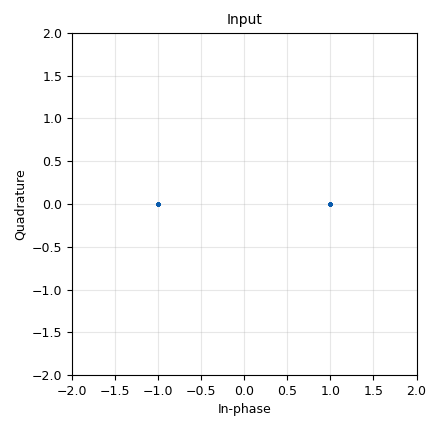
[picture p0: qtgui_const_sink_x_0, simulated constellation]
options:
  parameters:
    author: mzemlo.pl@gmail.com
    generate_options: qt_gui
    id: bpsk_01
    output_language: python
    title: BPSK 01
  states: {}

blocks:
- name: datarate
  id: variable
  parameters:
    value: '16000'
  states: {}
- name: fc
  id: variable
  parameters:
    value: 3.5e9
  states: {}
- name: samp_rate
  id: variable_qtgui_range
  parameters:
    start: '65105'
    step: '1000'
    stop: '61440000'
    value: '11445105'
  states: {}
- name: analog_const_source_x_0
  id: analog_const_source_x
  parameters:
    const: '0'
    type: float
  states: {}
- name: analog_random_uniform_source_x_0
  id: analog_random_uniform_source_x
  parameters:
    maximum: '2'
    minimum: '0'
    seed: '0'
    type: byte
  states: {}
- name: blocks_add_const_vxx_0
  id: blocks_add_const_vxx
  parameters:
    const: '-1'
    type: float
  states: {}
- name: blocks_complex_to_float_0
  id: blocks_complex_to_float
  parameters: {}
  states: {}
- name: blocks_float_to_complex_0
  id: blocks_float_to_complex
  parameters: {}
  states: {}
- name: blocks_multiply_const_vxx_0
  id: blocks_multiply_const_vxx
  parameters:
    const: '2'
    type: float
  states: {}
- name: blocks_threshold_ff_0
  id: blocks_threshold_ff
  parameters:
    high: '0.5'
    init: '0'
    low: '0.5'
  states: {}
- name: blocks_throttle2_0
  id: blocks_throttle2
  parameters:
    samples_per_second: samp_rate
    type: byte
  states: {}
- name: blocks_uchar_to_float_0
  id: blocks_uchar_to_float
  parameters: {}
  states: {}
- name: iio_pluto_sink_0
  id: iio_pluto_sink
  parameters:
    attenuation1: '10.0'
    bandwidth: '20000000'
    buffer_size: '32768'
    cyclic: 'False'
    filter_source: '''Auto'''
    frequency: int ( fc)
    samplerate: int ( samp_rate )
    type: fc32
    uri: usb:2.1.5
  states: {}
- name: iio_pluto_source_0
  id: iio_pluto_source
  parameters:
    bandwidth: '20000000'
    bbdc: 'True'
    buffer_size: '32768'
    filter_source: '''Auto'''
    frequency: int ( fc )
    gain1: '''slow_attack'''
    quadrature: 'True'
    rfdc: 'True'
    samplerate: int ( samp_rate )
    type: fc32
    uri: usb:2.1.5
  states: {}
- name: qtgui_const_sink_x_0
  id: qtgui_const_sink_x
  parameters:
    name: Input
    size: '1024'
    type: complex
  states: {}
- name: qtgui_const_sink_x_0_0
  id: qtgui_const_sink_x
  parameters:
    name: Output
    size: '1024'
    type: complex
  states: {}
- name: qtgui_number_sink_0
  id: qtgui_number_sink
  parameters:
    graph_type: qtgui.NUM_GRAPH_HORIZ
    min: '0'
    name: '"input bits"'
    type: float
  states: {}
- name: qtgui_number_sink_1
  id: qtgui_number_sink
  parameters:
    graph_type: qtgui.NUM_GRAPH_HORIZ
    min: '0'
    name: '"output bits"'
    type: float
  states: {}

connections:
- [analog_const_source_x_0, '0', blocks_float_to_complex_0, '1']
- [analog_random_uniform_source_x_0, '0', blocks_throttle2_0, '0']
- [blocks_add_const_vxx_0, '0', blocks_float_to_complex_0, '0']
- [blocks_complex_to_float_0, '0', blocks_threshold_ff_0, '0']
- [blocks_float_to_complex_0, '0', iio_pluto_sink_0, '0']
- [blocks_float_to_complex_0, '0', qtgui_const_sink_x_0, '0']
- [blocks_multiply_const_vxx_0, '0', blocks_add_const_vxx_0, '0']
- [blocks_threshold_ff_0, '0', qtgui_number_sink_1, '0']
- [blocks_throttle2_0, '0', blocks_uchar_to_float_0, '0']
- [blocks_uchar_to_float_0, '0', blocks_multiply_const_vxx_0, '0']
- [blocks_uchar_to_float_0, '0', qtgui_number_sink_0, '0']
- [iio_pluto_source_0, '0', blocks_complex_to_float_0, '0']
- [iio_pluto_source_0, '0', qtgui_const_sink_x_0_0, '0']

metadata:
  file_format: 1
  grc_version: 3.10.9.2
